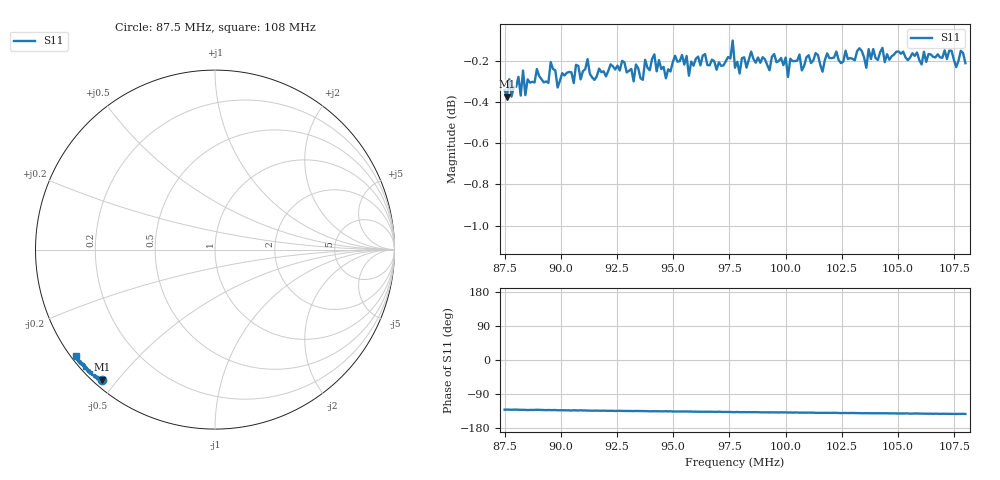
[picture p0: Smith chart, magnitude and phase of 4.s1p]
!Agilent Technologies,N5225A,MY51441201,A.09.90.19
!Agilent N5225A: A.09.90.19
!Date: Wednesday, April 25, 2018 14:38:26
!Correction: S11(Full 1 Port(1))
!S1P File: Measurement: S11:
# Hz S  dB  R 50
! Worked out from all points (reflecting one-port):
!   201 points, 87.5 MHz to 108 MHz, reference 50 ohm
!   lowest |S11| = -0.4 dB at 87.6 MHz (marker M1), VSWR 46.46, Z = 1.3 - j22.8 ohm
!   phase of S11 starts at -131 deg and turns -12 deg over the sweep
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8.75e7  -0.34 -131.0
8.76025e7  -0.37 -130.9
8.82175e7  -0.37 -131.3
8.832e7  -0.25 -131.6
8.84225e7  -0.37 -131.7
8.8525e7  -0.29 -132.2
8.8935e7  -0.24 -131.4
8.9345e7  -0.30 -132.3
9.00625e7  -0.26 -132.5
9.08825e7  -0.29 -132.7
9.1395e7  -0.28 -133.9
9.2625e7  -0.25 -134.0
9.324e7  -0.30 -134.8
9.37525e7  -0.19 -134.7
9.39575e7  -0.25 -135.5
9.41625e7  -0.17 -135.1
9.4675e7  -0.28 -135.1
9.51875e7  -0.20 -135.9
9.611e7  -0.18 -136.5
9.66225e7  -0.22 -136.1
9.693e7  -0.24 -137.0
9.70325e7  -0.21 -136.4
9.76475e7  -0.10 -137.6
9.775e7  -0.23 -137.6
1.003125e8  -0.20 -138.8
1.02875e8  -0.19 -139.8
1.054375e8  -0.20 -141.0
1.08e8  -0.21 -142.5
